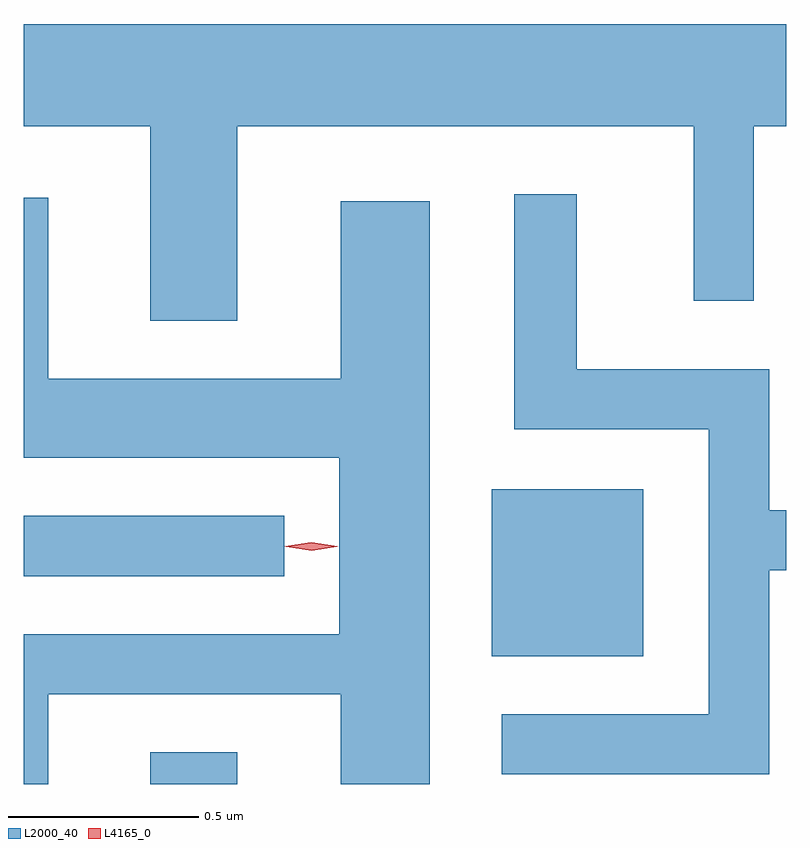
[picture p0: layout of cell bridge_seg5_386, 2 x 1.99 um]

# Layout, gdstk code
import gdstk
lib = gdstk.Library(unit=1e-6, precision=1e-09)
def R(c, l, rs):  # rectangles x0, y0, x1, y1
    for r in rs: c.add(gdstk.rectangle(r[:2], r[2:], *l))
def P(c, l, *ps):  # polygons
    for p in ps: c.add(gdstk.Polygon(p, *l))
L2000_40 = (2000, 40)
L4165_0 = (4165, 0)

bridge_seg5_386 = lib.new_cell('bridge_seg5_386')
R(bridge_seg5_386, L2000_40, [(899.261,1392.911,899.489,1392.994), (900.156,1393.246,900.554,1393.684), (898.929,1393.456,899.613,1393.614)])
P(bridge_seg5_386, L2000_40, [(899.489,1394.636),(900.686,1394.636),(900.686,1394.178),(900.844,1394.178),(900.844,1394.636),(900.929,1394.636),(900.929,1394.904),(898.929,1394.904),(898.929,1394.636),(899.261,1394.636),(899.261,1394.126),(899.489,1394.126)],
  [(900.884,1393.471),(900.929,1393.471),(900.929,1393.629),(900.884,1393.629),(900.884,1393.999),(900.379,1393.999),(900.379,1394.458),(900.216,1394.458),(900.216,1393.841),(900.726,1393.841),(900.726,1393.094),(900.183,1393.094),(900.183,1392.936),(900.884,1392.936)],
  [(898.994,1393.146),(899.761,1393.146),(899.761,1392.911),(899.994,1392.911),(899.994,1394.439),(899.761,1394.439),(899.761,1393.974),(898.994,1393.974),(898.994,1394.448),(898.929,1394.448),(898.929,1393.766),(899.756,1393.766),(899.756,1393.304),(898.929,1393.304),(898.929,1392.911),(898.994,1392.911)])
P(bridge_seg5_386, L4165_0, [(899.684,1393.523),(899.618,1393.533),(899.617,1393.533),(899.618,1393.534),(899.684,1393.543),(899.75,1393.534),(899.75,1393.533),(899.75,1393.533)],
  [(899.683,1393.525),(899.614,1393.534),(899.614,1393.535),(899.614,1393.535),(899.683,1393.545),(899.752,1393.535),(899.753,1393.535),(899.752,1393.534)])

lib.write_gds('bridge_seg5_386.gds')
